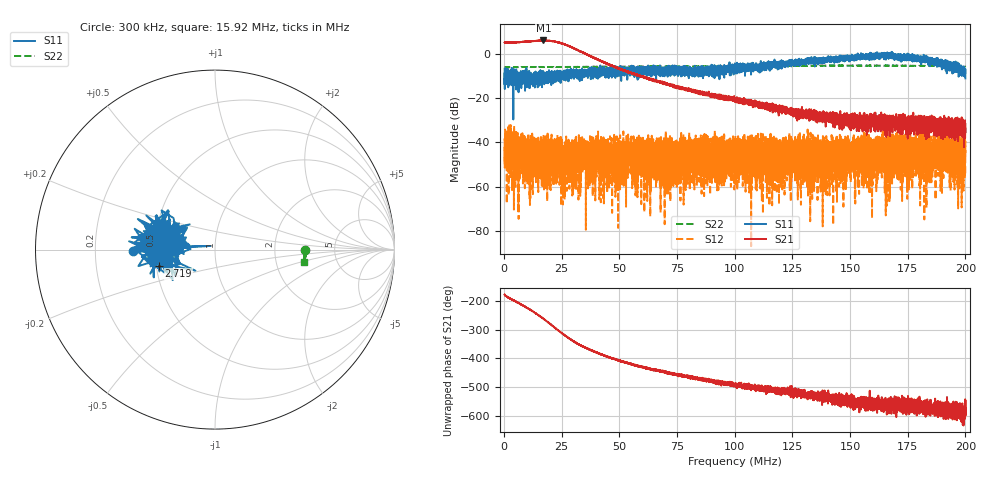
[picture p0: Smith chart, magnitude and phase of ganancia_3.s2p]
# Hz S DB R 50
! CMT, M5065, 19127446, 24.2.4/2
! Date: 10/29/2024 1:03:08 PM
! Data: Format (Calibration Info)
! Freq	S11:dB/Ang(F2)	S21:dB/Ang(F2)	S12:dB/Ang(F2)	S22:dB/Ang(F2)
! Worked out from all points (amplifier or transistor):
!   9000 points, 300 kHz to 200 MHz, reference 50 ohm
!   highest |S21| = 6.0 dB at 17.08 MHz (marker M1)
!   |S21| within 3 dB of that: start of sweep to 29.12 MHz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
!   unconditionally stable (mu >= 1): start of sweep to 153.3 MHz; 168.9 MHz to 174.9 MHz; 174.9 MHz to end of sweep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
!   at 33.59 MHz: K = 35.39, MAG = 2.8 dB, |S12| = -41.7 dB
!   at 100.2 MHz: K = 258.54, MAG = -17.8 dB, |S12| = -39.1 dB
!   at 200 MHz: K = 2600.11, MAG = -29.9 dB, |S12| = -46.2 dB
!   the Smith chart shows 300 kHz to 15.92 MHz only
!   S11 on the Smith chart (normalised r, x): 300 kHz: 0.37, -0.01; 2.719 MHz: 0.52, -0.10; 15.92 MHz: 0.54, +0.13
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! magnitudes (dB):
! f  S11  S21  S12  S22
! 300 kHz  -6.8  5.1  -48.5  -6.0
! 1.321 MHz  -12.9  5.1  -39.0  -6.1
! 2.719 MHz  -9.8  5.2  -37.7  -6.0
! 15.92 MHz  -10.2  5.9  -39.8  -6.0
! 17.08 MHz  -10.1  6.0  -38.9  -6.0
! 33.59 MHz  -8.7  0.9  -41.7  -5.9
! 66.87 MHz  -8.1  -12.3  -49.0  -5.8
! 73.44 MHz  -6.5  -14.3  -59.7  -5.7
! 75.53 MHz  -6.6  -15.4  -50.3  -5.7
! 77.55 MHz  -8.3  -15.6  -40.4  -5.7
! 79.35 MHz  -8.8  -16.0  -56.7  -5.7
! 81.68 MHz  -9.8  -17.0  -48.8  -5.7
! 88.6 MHz  -8.0  -18.6  -42.4  -5.7
! 100.2 MHz  -6.0  -20.4  -39.1  -5.7
! 104.5 MHz  -9.9  -21.7  -48.0  -5.7
! 113.4 MHz  -4.3  -23.9  -41.0  -5.6
! 133.4 MHz  -3.4  -27.6  -41.3  -5.4
! 161.1 MHz  0.0  -28.9  -51.7  -5.4
! 163.6 MHz  -1.6  -30.3  -39.7  -5.4
! 166.7 MHz  -2.3  -28.6  -42.8  -5.4
! 188.8 MHz  -3.2  -30.3  -37.6  -5.5
! 200 MHz  -11.1  -31.6  -46.2  -5.5
